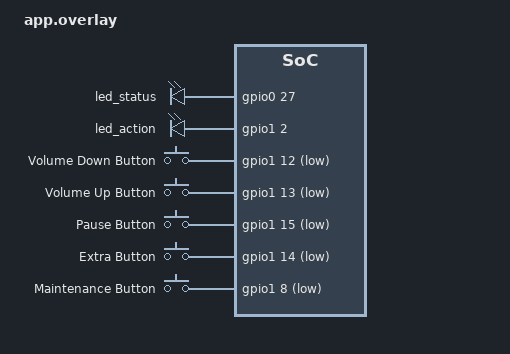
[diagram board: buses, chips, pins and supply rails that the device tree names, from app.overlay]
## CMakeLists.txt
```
cmake_minimum_required(VERSION 3.20.0)

find_package(Zephyr)
project(lautstarkofant)

FILE(GLOB app_sources src/*.c)
target_sources(app PRIVATE ${app_sources})
```

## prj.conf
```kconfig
# Increased stack due to settings API usage
CONFIG_SYSTEM_WORKQUEUE_STACK_SIZE=2048

CONFIG_BT=y
CONFIG_LOG=y
CONFIG_BT_SMP=y
CONFIG_BT_PERIPHERAL=y
CONFIG_BT_DIS=y
CONFIG_BT_BAS=y
CONFIG_BT_DEVICE_NAME="Lautstarkofant"
CONFIG_BT_DEVICE_APPEARANCE=962

CONFIG_BT_SETTINGS=y
CONFIG_FLASH=y
CONFIG_FLASH_PAGE_LAYOUT=y
CONFIG_FLASH_MAP=y
CONFIG_NVS=y
CONFIG_SETTINGS=y

CONFIG_GPIO=y
```

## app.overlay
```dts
/ {
    // https://content.arduino.cc/assets/NANO33BLE_V2.0_sch.pdf
	leds {
		compatible = "gpio-leds";
		led_status: led_status {
			gpios = <&gpio0 27 GPIO_ACTIVE_HIGH>; /* D9 */
		};
		led_action: led_action {
			gpios = <&gpio1 2 GPIO_ACTIVE_HIGH>; /* D10 */
		};
	};
    buttons {
        compatible = "gpio-keys";
        button_vol_down: button_vol_down {
            gpios = <&gpio1 12 (GPIO_PULL_UP | GPIO_ACTIVE_LOW)>; /* D3 */
            label = "Volume Down Button";
        };
        button_vol_up: button_vol_up {
            gpios = <&gpio1 13 (GPIO_PULL_UP | GPIO_ACTIVE_LOW)>; /* D5 */
            label = "Volume Up Button";
        };
        button_pause: button_pause {
            gpios = <&gpio1 15 (GPIO_PULL_UP | GPIO_ACTIVE_LOW)>; /* D4 */
            label = "Pause Button";
        };
        button_extra: button_extra {
            gpios = <&gpio1 14 (GPIO_PULL_UP | GPIO_ACTIVE_LOW)>; /* D6 */
            label = "Extra Button";
        };
        button_maintenance: button_maintenance {
            gpios = <&gpio1 8 (GPIO_PULL_UP | GPIO_ACTIVE_LOW)>; /* D12 */
            label = "Maintenance Button";
        };
    };
};
```

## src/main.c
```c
/* main.c - Application main entry point */

/*
 * Copyright (c) 2016 Intel Corporation
 *
 * SPDX-License-Identifier: Apache-2.0
 */

#include <zephyr/types.h>
#include <stddef.h>
#include <string.h>
#include <errno.h>
#include <zephyr/sys/printk.h>
#include <zephyr/sys/byteorder.h>
#include <zephyr/kernel.h>

#include <zephyr/settings/settings.h>

#include <zephyr/bluetooth/bluetooth.h>
#include <zephyr/bluetooth/hci.h>
#include <zephyr/bluetooth/conn.h>
#include <zephyr/bluetooth/uuid.h>
#include <zephyr/bluetooth/gatt.h>
#include <zephyr/drivers/gpio.h>

#include "hog.h"

static const struct bt_data ad[] = {
    BT_DATA_BYTES(BT_DATA_FLAGS, (BT_LE_AD_GENERAL | BT_LE_AD_NO_BREDR)),
    BT_DATA_BYTES(BT_DATA_UUID16_ALL,
              BT_UUID_16_ENCODE(BT_UUID_HIDS_VAL),
              BT_UUID_16_ENCODE(BT_UUID_BAS_VAL)),
};

static void connected(struct bt_conn *conn, uint8_t err)
{
    char addr[BT_ADDR_LE_STR_LEN];

    bt_addr_le_to_str(bt_conn_get_dst(conn), addr, sizeof(addr));

    if (err) {
        printk("Failed to connect to %s (%u)\n", addr, err);
        return;
    }

    printk("Connected %s\n", addr);

    if (bt_conn_set_security(conn, BT_SECURITY_L2)) {
        printk("Failed to set security\n");
    }

    gpio_pin_set_dt(&statusLed, 1);
    gpio_pin_set_dt(&actionLed, 0);

    buttons_active = true;
}

static void disconnected(struct bt_conn *conn, uint8_t reason)
{
    char addr[BT_ADDR_LE_STR_LEN];

    buttons_active = false;

    bt_addr_le_to_str(bt_conn_get_dst(conn), addr, sizeof(addr));

    printk("Disconnected from %s (reason 0x%02x)\n", addr, reason);
    gpio_pin_set_dt(&statusLed, 0);
    gpio_pin_set_dt(&actionLed, 1);
}

static void security_changed(struct bt_conn *conn, bt_security_t level,
                 enum bt_security_err err)
{
    char addr[BT_ADDR_LE_STR_LEN];

    bt_addr_le_to_str(bt_conn_get_dst(conn), addr, sizeof(addr));

    if (!err) {
        printk("Security changed: %s level %u\n", addr, level);
    } else {
        printk("Security failed: %s level %u err %d\n", addr, level,
               err);
    }
}

BT_CONN_CB_DEFINE(conn_callbacks) = {
    .connected = connected,
    .disconnected = disconnected,
    .security_changed = security_changed,
};

static void bt_ready(int err)
{
    if (err) {
        printk("Bluetooth init failed (err %d)\n", err);
        return;
    }

    printk("Bluetooth initialized\n");

    hog_init();

    if (IS_ENABLED(CONFIG_SETTINGS)) {
        settings_load();
    }

    err = bt_le_adv_start(BT_LE_ADV_CONN_NAME, ad, ARRAY_SIZE(ad), NULL, 0);
    if (err) {
        printk("Advertising failed to start (err %d)\n", err);
        return;
    }

    printk("Advertising successfully started\n");
}

static void auth_passkey_display(struct bt_conn *conn, unsigned int passkey)
{
    char addr[BT_ADDR_LE_STR_LEN];

    bt_addr_le_to_str(bt_conn_get_dst(conn), addr, sizeof(addr));

    printk("Passkey for %s: %06u\n", addr, passkey);
}

static void auth_cancel(struct bt_conn *conn)
{
    char addr[BT_ADDR_LE_STR_LEN];

    bt_addr_le_to_str(bt_conn_get_dst(conn), addr, sizeof(addr));

    printk("Pairing cancelled: %s\n", addr);
}

static struct bt_conn_auth_cb auth_cb_display = {
    .passkey_display = auth_passkey_display,
    .passkey_entry = NULL,
    .cancel = auth_cancel,
};

int main(void)
{
    int err;

    if (!gpio_is_ready_dt(&statusLed) ||
            !gpio_is_ready_dt(&actionLed)
    ) {
        return 0;
    }

    gpio_pin_configure_dt(&statusLed, GPIO_OUTPUT_INACTIVE);
    gpio_pin_configure_dt(&actionLed, GPIO_OUTPUT_ACTIVE);

    err = bt_enable(bt_ready);
    if (err) {
        printk("Bluetooth init failed (err %d)\n", err);
        return 0;
    }

    if (IS_ENABLED(CONFIG_SAMPLE_BT_USE_AUTHENTICATION)) {
        bt_conn_auth_cb_register(&auth_cb_display);
        printk("Bluetooth authentication callbacks registered.\n");
    }

    hog_button_loop();
    return 0;
}
```

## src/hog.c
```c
/** @file
 *  @brief HoG Service sample
 */

/*
 * Copyright (c) 2016 Intel Corporation
 *
 * SPDX-License-Identifier: Apache-2.0
 */

#include <zephyr/types.h>
#include <zephyr/drivers/gpio.h>
#include <stddef.h>
#include <string.h>
#include <errno.h>
#include <zephyr/sys/printk.h>
#include <zephyr/sys/byteorder.h>
#include <zephyr/kernel.h>

#include <zephyr/bluetooth/bluetooth.h>
#include <zephyr/bluetooth/hci.h>
#include <zephyr/bluetooth/conn.h>
#include <zephyr/bluetooth/uuid.h>
#include <zephyr/bluetooth/gatt.h>

#include "hog.h"

enum {
    HIDS_REMOTE_WAKE = BIT(0),
    HIDS_NORMALLY_CONNECTABLE = BIT(1),
};

struct hids_info {
    uint16_t version; /* version number of base USB HID Specification */
    uint8_t code; /* country HID Device hardware is localized for. */
    uint8_t flags;
} __packed;

struct hids_report {
    uint8_t id; // report id
    uint8_t type; // report type
} __packed;

static struct hids_info info = {
    .version = 0x0000,
    .code = 0x00,
    .flags = HIDS_NORMALLY_CONNECTABLE,
};

enum {
    HIDS_INPUT = 0x01,
    HIDS_OUTPUT = 0x02,
    HIDS_FEATURE = 0x03,
};

static struct hids_report input = {
    .id = 0x01,
    .type = HIDS_INPUT,
};

struct {
    // TODO: may want to add back some normal keyboard functionality from lautstarokfant-mbed
    //uint8_t key_codes[6];
    uint8_t media_key;
} hid_key_report;

const uint8_t MEDIA_KEY_CONFIGURATION   = 1 << 0;
const uint8_t MEDIA_KEY_PLAY_PAUSE      = 1 << 1;
const uint8_t MEDIA_KEY_SCAN_NEXT_TRACK = 1 << 2;
const uint8_t MEDIA_KEY_SCAN_PREV_TRACK = 1 << 3;
const uint8_t MEDIA_KEY_VOLUME_UP       = 1 << 4;
const uint8_t MEDIA_KEY_VOLUME_DOWN     = 1 << 5;
const uint8_t MEDIA_KEY_AC_FORWARD      = 1 << 6;
const uint8_t MEDIA_KEY_AC_BACK         = 1 << 7;

static uint8_t simulate_input;
static uint8_t ctrl_point;
static uint8_t report_map[] = {
    // https://devzone.nordicsemi.com/f/nordic-q-a/25351/hid-consumer-control-settings
    0x05, 0x0C,                     // Usage Page (Consumer)
    0x09, 0x01,                     // Usage (Consumer Control)
    0xA1, 0x01,                     // Collection (Application)
    0x85, 0x01,                     //     Report Id (1)
    0x15, 0x00,                     //     Logical minimum (0)
    0x25, 0x01,                     //     Logical maximum (1)
    0x75, 0x01,                     //     Report Size (1)
    0x95, 0x01,                     //     Report Count (1)

    0x0A, 0x83, 0x01,               //     Usage (AL Consumer Control Configuration)
    0x81, 0x02,                     //     Input (Data,Value,Relative,Bit Field)
    0x09, 0xCD,                     //     Usage (Play/Pause)
    0x81, 0x02,                     //     Input (Data,Value,Relative,Bit Field)
    0x09, 0xB5,                     //     Usage (Scan Next Track)
    0x81, 0x02,                     //     Input (Data,Value,Relative,Bit Field)
    0x09, 0xB6,                     //     Usage (Scan Previous Track)
    0x81, 0x02,                     //     Input (Data,Value,Relative,Bit Field)
    0x09, 0xEA,                     //     Usage (Volume Down)
    0x81, 0x02,                     //     Input (Data,Value,Relative,Bit Field)
    0x09, 0xE9,                     //     Usage (Volume Up)
    0x81, 0x02,                     //     Input (Data,Value,Relative,Bit Field)
    0x0A, 0x25, 0x02,               //     Usage (AC Forward)
    0x81, 0x02,                     //     Input (Data,Value,Relative,Bit Field)
    0x0A, 0x24, 0x02,               //     Usage (AC Back)
    0x81, 0x02,                     //     Input (Data,Value,Relative,Bit Field)
    0xC0                            // End Collection
};


static ssize_t read_info(struct bt_conn *conn,
              const struct bt_gatt_attr *attr, void *buf,
              uint16_t len, uint16_t offset)
{
    return bt_gatt_attr_read(conn, attr, buf, len, offset, attr->user_data,
                 sizeof(struct hids_info));
}

static ssize_t read_report_map(struct bt_conn *conn,
                   const struct bt_gatt_attr *attr, void *buf,
                   uint16_t len, uint16_t offset)
{
    return bt_gatt_attr_read(conn, attr, buf, len, offset, report_map,
                 sizeof(report_map));
}

static ssize_t read_report(struct bt_conn *conn,
               const struct bt_gatt_attr *attr, void *buf,
               uint16_t len, uint16_t offset)
{
    return bt_gatt_attr_read(conn, attr, buf, len, offset, attr->user_data,
                 sizeof(struct hids_report));
}

static void input_ccc_changed(const struct bt_gatt_attr *attr, uint16_t value)
{
    simulate_input = (value == BT_GATT_CCC_NOTIFY) ? 1 : 0;
}

static ssize_t read_input_report(struct bt_conn *conn,
                 const struct bt_gatt_attr *attr, void *buf,
                 uint16_t len, uint16_t offset)
{
    return bt_gatt_attr_read(conn, attr, buf, len, offset, NULL, 0);
}

static ssize_t write_ctrl_point(struct bt_conn *conn,
                const struct bt_gatt_attr *attr,
                const void *buf, uint16_t len, uint16_t offset,
                uint8_t flags)
{
    uint8_t *value = attr->user_data;

    if (offset + len > sizeof(ctrl_point)) {
        return BT_GATT_ERR(BT_ATT_ERR_INVALID_OFFSET);
    }

    memcpy(value + offset, buf, len);

    return len;
}

#if CONFIG_SAMPLE_BT_USE_AUTHENTICATION
/* Require encryption using authenticated link-key. */
#define SAMPLE_BT_PERM_READ BT_GATT_PERM_READ_AUTHEN
#define SAMPLE_BT_PERM_WRITE BT_GATT_PERM_WRITE_AUTHEN
#else
/* Require encryption. */
#define SAMPLE_BT_PERM_READ BT_GATT_PERM_READ_ENCRYPT
#define SAMPLE_BT_PERM_WRITE BT_GATT_PERM_WRITE_ENCRYPT
#endif

/* HID Service Declaration */
BT_GATT_SERVICE_DEFINE(hog_svc,
    BT_GATT_PRIMARY_SERVICE(BT_UUID_HIDS),
    BT_GATT_CHARACTERISTIC(BT_UUID_HIDS_INFO, BT_GATT_CHRC_READ,
                   BT_GATT_PERM_READ, read_info, NULL, &info),
    BT_GATT_CHARACTERISTIC(BT_UUID_HIDS_REPORT_MAP, BT_GATT_CHRC_READ,
                   BT_GATT_PERM_READ, read_report_map, NULL, NULL),
    BT_GATT_CHARACTERISTIC(BT_UUID_HIDS_REPORT,
                   BT_GATT_CHRC_READ | BT_GATT_CHRC_NOTIFY,
                   SAMPLE_BT_PERM_READ,
                   read_input_report, NULL, NULL),
    BT_GATT_CCC(input_ccc_changed,
            SAMPLE_BT_PERM_READ | SAMPLE_BT_PERM_WRITE),
    BT_GATT_DESCRIPTOR(BT_UUID_HIDS_REPORT_REF, BT_GATT_PERM_READ,
               read_report, NULL, &input),
    BT_GATT_CHARACTERISTIC(BT_UUID_HIDS_CTRL_POINT,
                   BT_GATT_CHRC_WRITE_WITHOUT_RESP,
                   BT_GATT_PERM_WRITE,
                   NULL, write_ctrl_point, &ctrl_point),
);

static const struct gpio_dt_spec buttonVolDown = GPIO_DT_SPEC_GET(DT_NODELABEL(button_vol_down), gpios);
static const struct gpio_dt_spec buttonVolUp = GPIO_DT_SPEC_GET(DT_NODELABEL(button_vol_up), gpios);
static const struct gpio_dt_spec buttonPause = GPIO_DT_SPEC_GET(DT_NODELABEL(button_pause), gpios);
static const struct gpio_dt_spec buttonExtra = GPIO_DT_SPEC_GET(DT_NODELABEL(button_extra), gpios);
static const struct gpio_dt_spec buttonMaintenance = GPIO_DT_SPEC_GET(DT_NODELABEL(button_maintenance), gpios);
const struct gpio_dt_spec statusLed = GPIO_DT_SPEC_GET(DT_NODELABEL(led_status), gpios);
const struct gpio_dt_spec actionLed = GPIO_DT_SPEC_GET(DT_NODELABEL(led_action), gpios);

volatile bool buttons_active = false;

#define BUTTON_THROTTLE_MILLIS 300L
enum ACTION {
  NONE,
  INVALID,
  REPEAT_SINGLE_PRESS,
  RESET,
  VOLUME_UP,
  VOLUME_DOWN,
  PAUSE,
  PAGE_DOWN,
  PAGE_UP,
  DOUBLE_PAGE_UP,
  NEXT,
  PREVIOUS
};

struct BUTTON_STATE {
  const struct gpio_dt_spec* button;
  const int action;
  const int longPressAction;
  const bool canRepeat;
  const int repeatThrottle;
};

struct BUTTON_STATE buttonStates[] = {
  {&buttonVolDown, VOLUME_DOWN, REPEAT_SINGLE_PRESS, NONE, BUTTON_THROTTLE_MILLIS},
  {&buttonVolUp, VOLUME_UP, REPEAT_SINGLE_PRESS, NONE, BUTTON_THROTTLE_MILLIS},
  {&buttonPause, PAUSE, NONE, BUTTON_THROTTLE_MILLIS},
  {&buttonExtra, PREVIOUS, NONE, BUTTON_THROTTLE_MILLIS},
  {&buttonMaintenance, RESET, NONE, BUTTON_THROTTLE_MILLIS}
};

void hog_init(void)
{
}

void hog_button_loop(void)
{
    int64_t now;
    int action;
    bool anyPressed;
    uint8_t media_key;
    uint8_t key;
    uint8_t keyCount;
    static unsigned long lastAction = 0;
    static bool lastPressed = false;
    static bool lastLongPressed = false;

    gpio_pin_configure_dt(&buttonVolDown, GPIO_INPUT);
    gpio_pin_configure_dt(&buttonVolUp, GPIO_INPUT);
    gpio_pin_configure_dt(&buttonPause, GPIO_INPUT);
    gpio_pin_configure_dt(&buttonExtra, GPIO_INPUT);
    gpio_pin_configure_dt(&buttonMaintenance, GPIO_INPUT);

    memset(&hid_key_report, 0, sizeof(hid_key_report));

    for (;;) {
        now = k_uptime_get();
        action = NONE;
        anyPressed = false;
        for (unsigned int i = 0; i < sizeof(buttonStates) / sizeof(struct BUTTON_STATE); i++) {
            struct BUTTON_STATE buttonState = buttonStates[i];
            int currentState = gpio_pin_get_dt(buttonState.button) == 1;

            if (currentState) {
                // Light LED while any is pressed
                anyPressed = true;
                int thisAction = NONE;
                if (!lastPressed) {
                    // Immediately execute action on first press
                    thisAction = buttonState.action;
                    lastLongPressed = false;
                } else if ((now - lastAction) > buttonState.repeatThrottle) {
                    // Long press action
                    if (buttonState.longPressAction == REPEAT_SINGLE_PRESS) {
                        thisAction = buttonState.action;
                    } else if (!lastLongPressed && buttonState.longPressAction != NONE) {
                        thisAction = buttonState.longPressAction;
                        // We only want to do long press action once
                        if (!buttonState.canRepeat) {
                            lastLongPressed = true;
                        }
                    }
                }
                if (thisAction != NONE) {
                    // Ensure we don't do any action when pressing multiple buttons
                    if (action == NONE) {
                        action = thisAction;
                    } else {
                        action = INVALID;
                    }
                    lastAction = now;
                }
            }
        }

        lastPressed = anyPressed;

        if (buttons_active) {
            gpio_pin_set_dt(&actionLed, anyPressed);
        }

        media_key = 0;
        key = 0;
        keyCount = 1;
        switch (action) {
            case VOLUME_DOWN:
                media_key = MEDIA_KEY_VOLUME_DOWN;
                break;
            case VOLUME_UP:
                media_key = MEDIA_KEY_VOLUME_UP;
                break;
            case PAUSE:
                media_key = MEDIA_KEY_PLAY_PAUSE;
                break;
            case PAGE_DOWN:
                // TODO: key = KEYCODE_PAGE_DOWN;
                break;
            case PAGE_UP:
                // TODO: key = KEYCODE_PAGE_UP;
                break;
            case DOUBLE_PAGE_UP:
                // TODO
                //key = KEYCODE_PAGE_UP;
                //keyCount = 2;
                break;
            case PREVIOUS:
                media_key = MEDIA_KEY_SCAN_PREV_TRACK;
                break;
            case NEXT:
                media_key = MEDIA_KEY_SCAN_NEXT_TRACK;
                break;
            case RESET:
                // TODO?
                bt_unpair(BT_ID_DEFAULT, BT_ADDR_LE_ANY);
                NVIC_SystemReset();
                break;
        }
        if (buttons_active && (media_key || key)) {
            while (keyCount > 0) {
                if (media_key) {
                    hid_key_report.media_key = media_key;
                }
                if (key) {
                    // TODO re-implement for pageup/pagedown keys
                }
                // Press
                bt_gatt_notify(NULL, &hog_svc.attrs[5],
                           &hid_key_report, sizeof(hid_key_report));
                // Release
                memset(&hid_key_report, 0, sizeof(hid_key_report));
                bt_gatt_notify(NULL, &hog_svc.attrs[5],
                           &hid_key_report, sizeof(hid_key_report));
                keyCount--;
            }
        }

        k_sleep(K_MSEC(50));
    }
}
```

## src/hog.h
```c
/** @file
 *  @brief HoG Service sample
 */

/*
 * Copyright (c) 2016 Intel Corporation
 *
 * SPDX-License-Identifier: Apache-2.0
 */

#ifndef HOG_H
#define HOG_H
#ifdef __cplusplus
extern "C" {
#endif

void hog_init(void);

void hog_button_loop(void);

extern const struct gpio_dt_spec statusLed;
extern const struct gpio_dt_spec actionLed;

extern volatile bool buttons_active;

#ifdef __cplusplus
}
#endif
#endif
```
